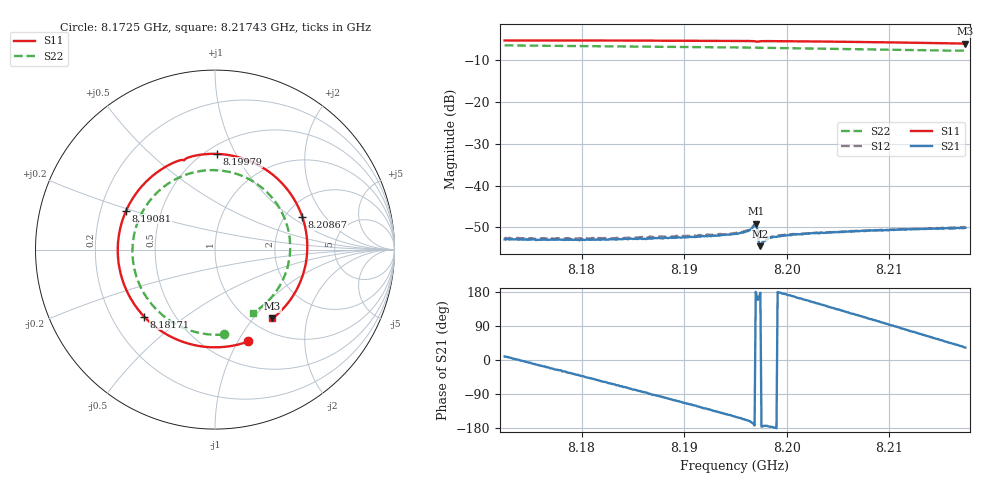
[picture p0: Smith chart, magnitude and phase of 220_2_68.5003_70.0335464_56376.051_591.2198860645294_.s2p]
#  HZ  S  RI  R  50.00
! Rohde & Schwarz Vector Network Analyzer
! Rohde-Schwarz,ZNB20-2Port,1311601062101988,3.16
! Created: UTC 3/20/2024, 4:58:24 PM
! freq[Hz]  re:S11  im:S11  re:S21  im:S21  re:S12  im:S12  re:S22  im:S22
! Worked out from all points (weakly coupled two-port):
!   401 points, 8.1725 GHz to 8.21743 GHz, reference 50 ohm
!   highest |S21| = -49.11 dB at 8.19698 GHz (marker M1); lowest = -54.5 dB at 8.19743 GHz (marker M2)
!   lowest |S11| = -6.0 dB at 8.21743 GHz (marker M3), VSWR 3.00, Z = 61.5 - j63 ohm
!   |S11| at or under -10 dB: nowhere
!   |S22| runs from -7.7 to -6.5 dB; largest |S21 - S12| = 0.00019
!   S11 on the Smith chart (normalised r, x): 8.1725 GHz: 0.76, -1.11; 8.18171 GHz: 0.34, -0.36; 8.19081 GHz: 0.31, +0.19; 8.19979 GHz: 0.57, +0.84; 8.20867 GHz: 2.46, +1.23; 8.21743 GHz: 1.23, -1.26
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8.172497e9  0.1864 -0.5116  0.00224 0.000364  0.00228 0.000381  0.0501 -0.4728
8.176316e9  -0.071 -0.5397  0.00216 -0.000669  0.00226 -0.000657  -0.1634 -0.4414
8.180023e9  -0.3072 -0.4489  0.00165 -0.00151  0.00169 -0.00157  -0.3352 -0.3244
8.181708e9  -0.3954 -0.3729  0.00132 -0.00184  0.00134 -0.00193  -0.392 -0.2495
8.184741e9  -0.5065 -0.1953  0.000567 -0.00224  0.000545 -0.00229  -0.4521 -0.0927
8.187549e9  -0.5419 -0.00369  -0.000214 -0.00236  -0.000318 -0.0024  -0.4546 0.0627
8.190806e9  -0.4948 0.2177  -0.00117 -0.00212  -0.00126 -0.00216  -0.3921 0.2313
8.194962e9  -0.31 0.4396  -0.00226 -0.00135  -0.00236 -0.00128  -0.2255 0.389
8.196198e9  -0.2336 0.483  -0.00266 -0.00101  -0.00277 -0.000901  -0.1623 0.4171
8.196872e9  -0.1863 0.4993  -0.00333 -0.000424  -0.00343 -0.000298  -0.126 0.4284
8.196984e9  -0.1778 0.4995  -0.0035 2.06e-05  -0.00358 0.000194  -0.1197 0.4298
8.197434e9  -0.1579 0.5092  -0.00188 9.19e-05  -0.00193 0.000192  -0.0953 0.4353
8.197546e9  -0.15 0.5128  -0.00195 -0.000142  -0.00202 -7.48e-06  -0.0891 0.4365
8.198557e9  -0.078 0.529  -0.00238 -0.000145  -0.00246 -4.31e-05  -0.0321 0.4425
8.199792e9  0.00944 0.5333  -0.00252 0.00025  -0.00256 0.000382  0.038 0.4399
8.202488e9  0.1948 0.4929  -0.00242 0.0012  -0.00237 0.00129  0.1845 0.3951
8.205746e9  0.3816 0.3604  -0.00171 0.00222  -0.00161 0.00232  0.3293 0.2752
8.208666e9  0.4864 0.1825  -0.000722 0.00282  -0.000627 0.00286  0.4052 0.1207
8.210014e9  0.509 0.089  -0.000159 0.00294  -0.000102 0.00293  0.4181 0.0407
8.211811e9  0.5114 -0.0393  0.000592 0.00295  0.000635 0.00294  0.4111 -0.0685
8.213609e9  0.4814 -0.1645  0.00133 0.00271  0.0014 0.00272  0.3757 -0.1738
8.217428e9  0.3201 -0.3837  0.00263 0.00169  0.00268 0.00165  0.2141 -0.3507
